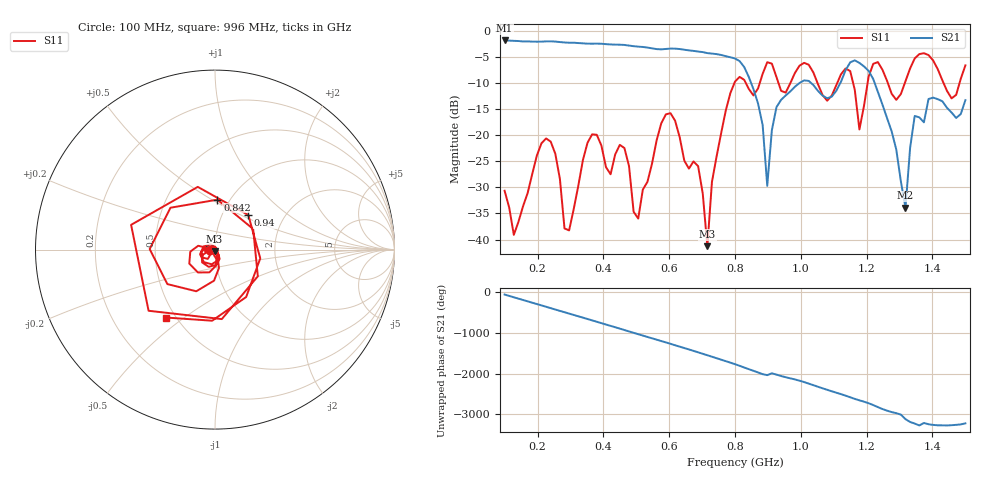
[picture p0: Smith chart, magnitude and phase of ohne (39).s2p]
! NanoVNA-App
! Date: 2025-09-25 14:21:06
! Start: 100MHz Stop: 1,5GHz Points: 101
! S-Parameter data: F S11 S21 S12 S22
# Hz S RI R 50
!  Frequency  S11_Real  S11_Imag  S21_Real  S21_Imag  S12_Real  S12_Imag  S22_Real  S22_Imag
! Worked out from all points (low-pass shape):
!   101 points, 100 MHz to 1.5 GHz, reference 50 ohm
!   highest |S21| = -1.79 dB at 100 MHz (marker M1); lowest = -33.9 dB at 1.318 GHz (marker M2)
!   |S21| within 3 dB of the highest: start of sweep to 770.8 MHz
!   lowest |S11| = -41.3 dB at 716 MHz (marker M3), VSWR 1.02, Z = 49.8 - j0.83 ohm
!   |S11| at or under -10 dB: start of sweep to 798 MHz; 833.2 MHz to 875.1 MHz (41.89 MHz wide, 4.9 % of centre); 1.051 GHz to 1.11 GHz (59.48 MHz wide, 5.5 % of centre) (the widest 3 of 7)
!   S12 and S22 are empty: the file has one direction only
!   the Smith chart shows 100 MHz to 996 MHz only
!   S11 on the Smith chart (normalised r, x): 100 MHz: 0.94, -0.01; 842 MHz: 0.88, +0.53; 940 MHz: 1.33, +0.55; 996 MHz: 0.45, -0.43
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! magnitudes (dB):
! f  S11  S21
! 100 MHz  -30.6  -1.8
! 128 MHz  -39.1  -1.9
! 226 MHz  -20.6  -2.0
! 296 MHz  -38.2  -2.2
! 338 MHz  -24.7  -2.3
! 464 MHz  -22.4  -2.7
! 506 MHz  -36.0  -3.0
! 576 MHz  -17.7  -3.5
! 688 MHz  -25.9  -3.9
! 716 MHz  -41.3  -4.2
! 800 MHz  -9.7  -5.3
! 842 MHz  -11.1  -8.8
! 898 MHz  -6.0  -29.7
! 940 MHz  -11.5  -13.2
! 996 MHz  -6.6  -10.0
! 1.038 GHz  -7.9  -10.3
! 1.178 GHz  -18.9  -6.1
! 1.22 GHz  -6.3  -9.2
! 1.276 GHz  -12.0  -19.2
! 1.318 GHz  -9.6  -33.9
! 1.346 GHz  -5.2  -16.3
! 1.5 GHz  -6.6  -13.2
